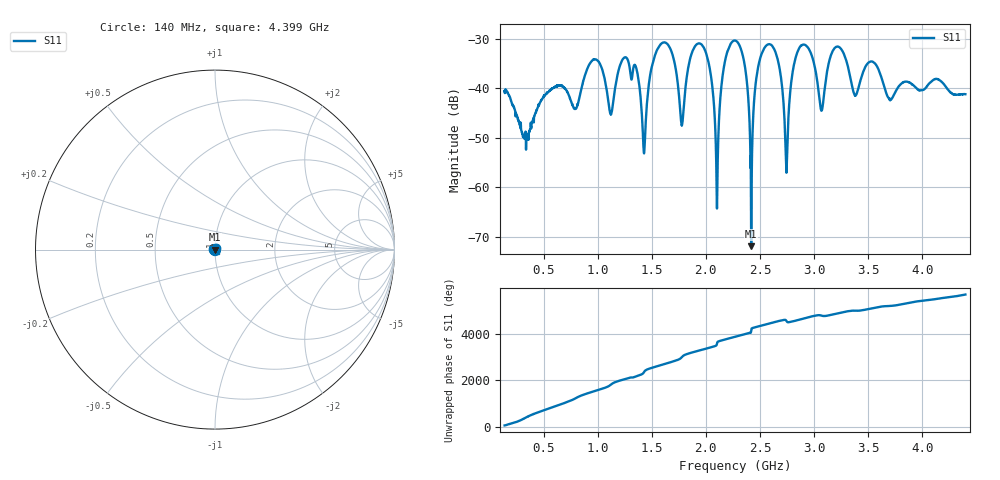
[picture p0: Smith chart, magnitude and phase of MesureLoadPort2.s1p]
! 140 4400 1
# MHz S MA R 50.0
!freq ReS11 ImS11
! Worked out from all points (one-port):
!   4260 points, 140 MHz to 4.399 GHz, reference 50 ohm
!   lowest |S11| = -71.9 dB at 2.419 GHz (marker M1), VSWR 1.00, Z = 50 + j0.005 ohm
!   |S11| at or under -10 dB: start of sweep to end of sweep
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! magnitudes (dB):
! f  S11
! 140 MHz  -40.6
! 337 MHz  -50.3
! 673 MHz  -39.6
! 797 MHz  -44.2
! 987 MHz  -34.3
! 1.123 GHz  -45.3
! 1.205 GHz  -35.5
! 1.356 GHz  -35.9
! 1.428 GHz  -53.1
! 1.567 GHz  -31.6
! 1.738 GHz  -38.6
! 1.781 GHz  -47.3
! 1.866 GHz  -33.2
! 1.977 GHz  -31.7
! 2.103 GHz  -64.3
! 2.168 GHz  -35.6
! 2.27 GHz  -30.4
! 2.362 GHz  -35.7
! 2.419 GHz  -71.9
! 2.536 GHz  -32.1
! 2.664 GHz  -34.2
! 2.743 GHz  -56.6
! 2.802 GHz  -36.8
! 3.069 GHz  -44.6
! 3.193 GHz  -31.9
! 3.335 GHz  -37.8
! 3.867 GHz  -38.7
! 4.399 GHz  -41.2
